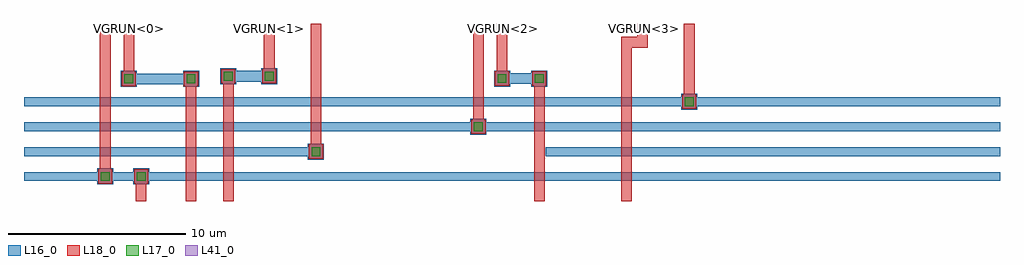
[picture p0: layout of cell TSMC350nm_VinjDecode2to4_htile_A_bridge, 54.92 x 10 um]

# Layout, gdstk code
import gdstk
lib = gdstk.Library(unit=1e-6, precision=1e-09)
def R(c, l, rs):  # rectangles x0, y0, x1, y1
    for r in rs: c.add(gdstk.rectangle(r[:2], r[2:], *l))
L16_0 = (16, 0)
L17_0 = (17, 0)
L18_0 = (18, 0)
L41_0 = (41, 0)

prog_periph_via2_cdns_74 = lib.new_cell('prog_periph_VIA2_CDNS_744049820990')
R(prog_periph_via2_cdns_74, L16_0, [(-0.45,-0.45,0.45,0.45)])
R(prog_periph_via2_cdns_74, L17_0, [(-0.25,-0.25,0.25,0.25)])
R(prog_periph_via2_cdns_74, L18_0, [(-0.4,-0.4,0.4,0.4)])

tsmc350nm_vinjdecode2to4 = lib.new_cell('TSMC350nm_VinjDecode2to4_htile_A_bridge')
R(tsmc350nm_vinjdecode2to4, L41_0, [(13.5,9.46,14.1,10), (34.5,9.46,35.1,10), (5.6,9.52,6.2,10), (26.6,9.56,27.2,10)])
tsmc350nm_vinjdecode2to4.add(gdstk.FlexPath([(34.8,8.95),(33.6,8.95)], 0.6, ends=(0.3, 0), simple_path=True, layer=18, datatype=0))  # L18_0
tsmc350nm_vinjdecode2to4.add(gdstk.FlexPath([(34.8,10),(34.8,8.95)], 0.6, ends=(0, 0.3), simple_path=True, layer=18, datatype=0))  # L18_0
tsmc350nm_vinjdecode2to4.add(gdstk.FlexPath([(33.9,8.95),(33.9,0)], 0.6, ends="flush", simple_path=True, layer=18, datatype=0))  # L18_0
tsmc350nm_vinjdecode2to4.add(gdstk.FlexPath([(26.9,10),(26.9,6.9)], 0.6, ends="flush", simple_path=True, layer=18, datatype=0))  # L18_0
tsmc350nm_vinjdecode2to4.add(gdstk.FlexPath([(29,0),(29,6.91)], 0.6, ends="flush", simple_path=True, layer=18, datatype=0))  # L18_0
tsmc350nm_vinjdecode2to4.add(gdstk.FlexPath([(13.8,10),(13.8,7.03)], 0.6, ends="flush", simple_path=True, layer=18, datatype=0))  # L18_0
tsmc350nm_vinjdecode2to4.add(gdstk.FlexPath([(11.5,0),(11.5,7.08)], 0.6, ends="flush", simple_path=True, layer=18, datatype=0))  # L18_0
tsmc350nm_vinjdecode2to4.add(gdstk.FlexPath([(5.9,10),(5.9,6.88)], 0.6, ends="flush", simple_path=True, layer=18, datatype=0))  # L18_0
tsmc350nm_vinjdecode2to4.add(gdstk.FlexPath([(9.4,6.89),(9.4,0)], 0.6, ends="flush", simple_path=True, layer=18, datatype=0))  # L18_0
tsmc350nm_vinjdecode2to4.add(gdstk.FlexPath([(37.43,10),(37.43,5.6)], 0.6, ends="flush", simple_path=True, layer=18, datatype=0))  # L18_0
tsmc350nm_vinjdecode2to4.add(gdstk.FlexPath([(25.57,10),(25.57,4.19)], 0.6, ends="flush", simple_path=True, layer=18, datatype=0))  # L18_0
tsmc350nm_vinjdecode2to4.add(gdstk.FlexPath([(16.43,10),(16.43,2.8)], 0.6, ends="flush", simple_path=True, layer=18, datatype=0))  # L18_0
tsmc350nm_vinjdecode2to4.add(gdstk.FlexPath([(6.59,0),(6.59,1.39)], 0.6, ends="flush", simple_path=True, layer=18, datatype=0))  # L18_0
tsmc350nm_vinjdecode2to4.add(gdstk.FlexPath([(4.57,10),(4.57,1.4)], 0.6, ends="flush", simple_path=True, layer=18, datatype=0))  # L18_0
tsmc350nm_vinjdecode2to4.add(gdstk.FlexPath([(0,2.8),(16.43,2.8)], 0.5, ends="flush", simple_path=True, layer=16, datatype=0))  # L16_0
tsmc350nm_vinjdecode2to4.add(gdstk.FlexPath([(0,1.4),(54.92,1.4)], 0.5, ends="flush", simple_path=True, layer=16, datatype=0))  # L16_0
tsmc350nm_vinjdecode2to4.add(gdstk.FlexPath([(0,5.6),(54.92,5.6)], 0.5, ends="flush", simple_path=True, layer=16, datatype=0))  # L16_0
tsmc350nm_vinjdecode2to4.add(gdstk.FlexPath([(0,4.2),(54.92,4.2)], 0.5, ends="flush", simple_path=True, layer=16, datatype=0))  # L16_0
tsmc350nm_vinjdecode2to4.add(gdstk.FlexPath([(29.35,2.8),(54.92,2.8)], 0.5, ends="flush", simple_path=True, layer=16, datatype=0))  # L16_0
tsmc350nm_vinjdecode2to4.add(gdstk.FlexPath([(29.17,6.91),(26.57,6.91)], 0.6, ends="flush", simple_path=True, layer=16, datatype=0))  # L16_0
tsmc350nm_vinjdecode2to4.add(gdstk.FlexPath([(13.82,7.04),(11.47,7.04)], 0.6, ends="flush", simple_path=True, layer=16, datatype=0))  # L16_0
tsmc350nm_vinjdecode2to4.add(gdstk.FlexPath([(5.8,6.89),(9.4,6.89)], 0.6, ends="flush", simple_path=True, layer=16, datatype=0))  # L16_0
tsmc350nm_vinjdecode2to4.add(gdstk.Reference(prog_periph_via2_cdns_74, (37.43,5.6)))
tsmc350nm_vinjdecode2to4.add(gdstk.Reference(prog_periph_via2_cdns_74, (25.57,4.2)))
tsmc350nm_vinjdecode2to4.add(gdstk.Reference(prog_periph_via2_cdns_74, (6.59,1.4)))
tsmc350nm_vinjdecode2to4.add(gdstk.Reference(prog_periph_via2_cdns_74, (4.57,1.4)))
tsmc350nm_vinjdecode2to4.add(gdstk.Reference(prog_periph_via2_cdns_74, (26.9,6.91)))
tsmc350nm_vinjdecode2to4.add(gdstk.Reference(prog_periph_via2_cdns_74, (29,6.91)))
tsmc350nm_vinjdecode2to4.add(gdstk.Reference(prog_periph_via2_cdns_74, (11.5,7.04)))
tsmc350nm_vinjdecode2to4.add(gdstk.Reference(prog_periph_via2_cdns_74, (13.8,7.04)))
tsmc350nm_vinjdecode2to4.add(gdstk.Reference(prog_periph_via2_cdns_74, (5.9,6.89)))
tsmc350nm_vinjdecode2to4.add(gdstk.Reference(prog_periph_via2_cdns_74, (9.4,6.89)))
tsmc350nm_vinjdecode2to4.add(gdstk.Reference(prog_periph_via2_cdns_74, (16.43,2.8)))
tsmc350nm_vinjdecode2to4.add(gdstk.Label('VGRUN<3>', (34.91,9.7), layer=41, texttype=0))
tsmc350nm_vinjdecode2to4.add(gdstk.Label('VGRUN<2>', (26.97,9.73), layer=41, texttype=0))
tsmc350nm_vinjdecode2to4.add(gdstk.Label('VGRUN<1>', (13.83,9.73), layer=41, texttype=0))
tsmc350nm_vinjdecode2to4.add(gdstk.Label('VGRUN<0>', (5.93,9.75), layer=41, texttype=0))

lib.write_gds('TSMC350nm_VinjDecode2to4_htile_A_bridge.gds')
